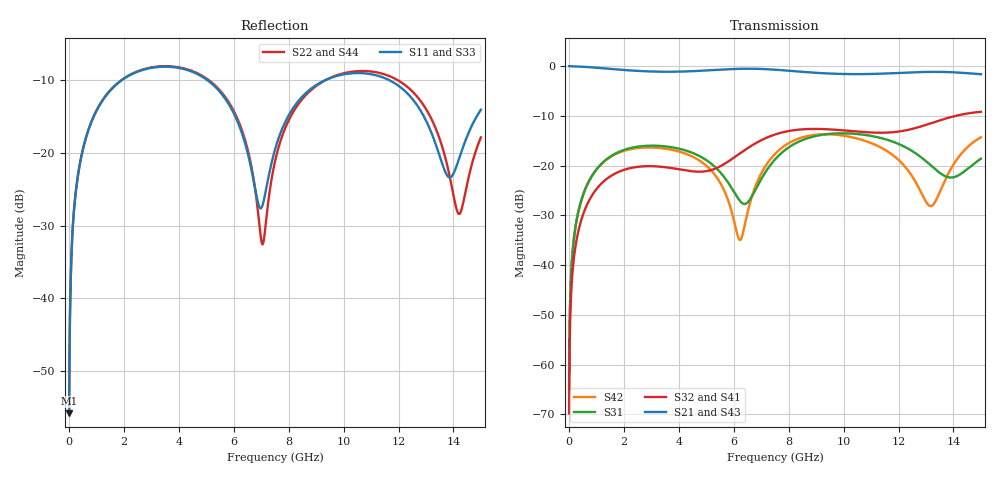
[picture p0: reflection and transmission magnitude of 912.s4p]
! Created with skrf 1.8.0 (http://scikit-rf.org).
# GHz S RI R 50.0
!freq ReS11 ImS11 ReS12 ImS12 ReS13 ImS13
! ReS14 ImS14
! ReS21 ImS21 ReS22 ImS22 ReS23 ImS23
! ReS24 ImS24
! ReS31 ImS31 ReS32 ImS32 ReS33 ImS33
! ReS34 ImS34
! ReS41 ImS41 ReS42 ImS42 ReS43 ImS43
! ReS44 ImS44
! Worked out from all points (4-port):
!   2499 points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, 5 MHz to 15 GHz, reference 50 ohm
!   strongest paths, dB at 5 MHz, 3.476 GHz, 7.19 GHz, 11.1 GHz, 15 GHz:
!     S21: 0.0, -1.1, -0.6, -1.6, -1.6
!     S43: 0.0, -1.1, -0.6, -1.6, -1.6
!     S32: -69.8, -20.3, -14.4, -13.4, -9.2
!     S41: -69.8, -20.4, -14.4, -13.5, -9.2
!     S31: -65.8, -16.1, -21.0, -14.1, -18.6
!     S42: -65.8, -16.6, -19.8, -15.7, -14.3
!   lowest |S11| = -55.9 dB at 5 MHz (marker M1), VSWR 1.00, Z = 50.1 + j0.0977 ohm
!   |S11| at or under -10 dB: start of sweep to 1.912 GHz; 5.051 GHz to 9.315 GHz (4.264 GHz wide, 59.4 % of centre); 11.68 GHz to end of sweep
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0.005  0.00128 0.000975  0.9987 -0.0025  6.35e-05 0.000509  -6.17e-05 -0.000318
       0.9987 -0.0025  0.00128 0.000975  -6.17e-05 -0.000318  6.34e-05 0.000509
       6.35e-05 0.000509  -6.17e-05 -0.000318  0.00128 0.000975  0.9987 -0.0025
       -6.17e-05 -0.000318  6.34e-05 0.000509  0.9987 -0.0025  0.00128 0.000975
0.4126719  0.0241 0.0839  0.9665 -0.2041  0.0119 0.0396  -0.00953 -0.0245
           0.9665 -0.2041  0.0243 0.0839  -0.00954 -0.0245  0.0111 0.0398
           0.0119 0.0396  -0.00954 -0.0245  0.0241 0.0839  0.9665 -0.2041
           -0.00953 -0.0245  0.0111 0.0398  0.9665 -0.2041  0.0243 0.0839
1.925802  0.2588 0.1841  0.5702 -0.7188  0.1288 0.0579  -0.0885 -0.0097
          0.5702 -0.7188  0.2617 0.1823  -0.0887 -0.00949  0.1194 0.07
          0.1288 0.0579  -0.0887 -0.00949  0.2587 0.1842  0.5702 -0.7189
          -0.0885 -0.0097  0.1194 0.07  0.5702 -0.7189  0.2619 0.1822
6.221342  0.085 -0.1238  -0.8496 -0.4001  -0.0368 -0.0247  -0.0535 0.1211
          -0.8496 -0.4001  0.0723 -0.1394  -0.0506 0.1224  0.0173 0.00469
          -0.0368 -0.0247  -0.0506 0.1224  0.086 -0.1249  -0.8493 -0.4002
          -0.0535 0.1211  0.0173 0.00469  -0.8493 -0.4002  0.0728 -0.1408
6.977907  0.0415 -0.00244  -0.9341 -0.0715  -0.0249 0.0669  -0.0117 0.1782
          -0.9341 -0.0715  0.0228 -0.0143  -0.00779 0.1785  0.027 0.0765
          -0.0249 0.0669  -0.00779 0.1785  0.0416 -0.00444  -0.934 -0.0717
          -0.0117 0.1782  0.027 0.0765  -0.934 -0.0717  0.0231 -0.0158
11.09837  0.3395 -0.0651  0.0775 0.8313  0.144 -0.1339  0.1944 -0.0831
          0.0775 0.8313  0.3544 -0.0737  0.1939 -0.0924  0.1546 -0.0558
          0.144 -0.1339  0.1939 -0.0924  0.3376 -0.0613  0.0789 0.8313
          0.1944 -0.0831  0.1546 -0.0558  0.0789 0.8313  0.355 -0.0779
15  0.1514 0.1282  0.7971 -0.2285  0.0434 0.109  -0.1184 -0.3251
    0.7971 -0.2285  0.0857 0.0951  -0.1342 -0.32  0.1645 0.1004
    0.0434 0.109  -0.1342 -0.32  0.1523 0.1253  0.796 -0.2314
    -0.1184 -0.3251  0.1645 0.1004  0.796 -0.2314  0.088 0.0967
